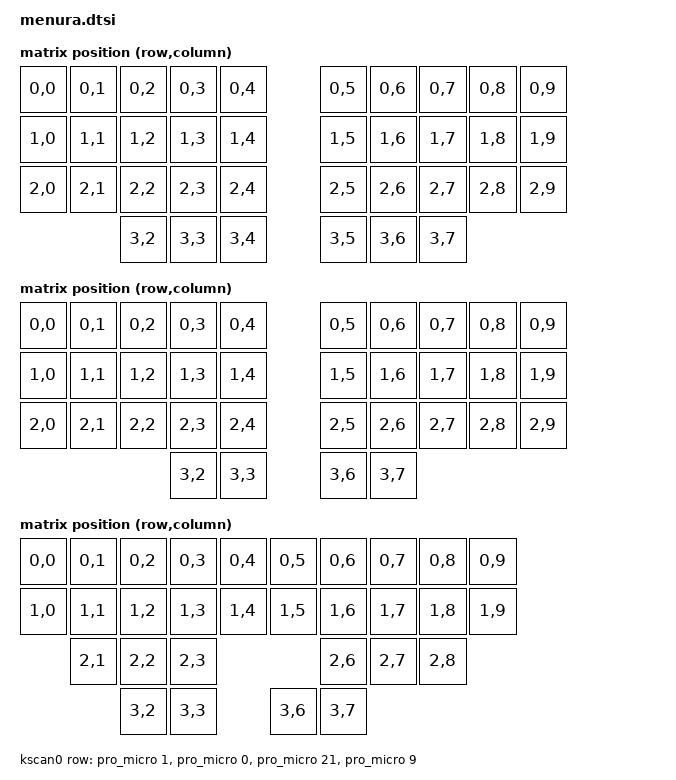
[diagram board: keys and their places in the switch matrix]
#include <dt-bindings/zmk/matrix_transform.h>

/ {
    kscan0: kscan0 {
        compatible = "zmk,kscan-gpio-matrix";
        diode-direction = "col2row";
        wakeup-source;

        row-gpios
            = <&pro_micro 1 (GPIO_ACTIVE_HIGH | GPIO_PULL_DOWN)>
            , <&pro_micro 0 (GPIO_ACTIVE_HIGH | GPIO_PULL_DOWN)>
            , <&pro_micro 21 (GPIO_ACTIVE_HIGH | GPIO_PULL_DOWN)>
            , <&pro_micro 9 (GPIO_ACTIVE_HIGH | GPIO_PULL_DOWN)>
            ;
    };

    transform_3x5_3: keymap_transform0 {
        compatible = "zmk,matrix-transform";
        columns = <10>;
        rows = <4>;
        map = <
RC(0,0) RC(0,1) RC(0,2) RC(0,3) RC(0,4)  RC(0,5) RC(0,6) RC(0,7) RC(0,8) RC(0,9)
RC(1,0) RC(1,1) RC(1,2) RC(1,3) RC(1,4)  RC(1,5) RC(1,6) RC(1,7) RC(1,8) RC(1,9)
RC(2,0) RC(2,1) RC(2,2) RC(2,3) RC(2,4)  RC(2,5) RC(2,6) RC(2,7) RC(2,8) RC(2,9)
                RC(3,2) RC(3,3) RC(3,4)  RC(3,5) RC(3,6) RC(3,7)
        >;
    };

    transform_3x5_2: keymap_transform1 {
        compatible = "zmk,matrix-transform";
        columns = <10>;
        rows = <4>;
        map = <
RC(0,0) RC(0,1) RC(0,2) RC(0,3) RC(0,4)  RC(0,5) RC(0,6) RC(0,7) RC(0,8) RC(0,9)
RC(1,0) RC(1,1) RC(1,2) RC(1,3) RC(1,4)  RC(1,5) RC(1,6) RC(1,7) RC(1,8) RC(1,9)
RC(2,0) RC(2,1) RC(2,2) RC(2,3) RC(2,4)  RC(2,5) RC(2,6) RC(2,7) RC(2,8) RC(2,9)
                    RC(3,2) RC(3,3)          RC(3,6) RC(3,7)
        >;
    };

    transform_23332_2: keymap_transform2 {
        compatible = "zmk,matrix-transform";
        columns = <10>;
        rows = <4>;
        map = <
RC(0,0) RC(0,1) RC(0,2) RC(0,3) RC(0,4)  RC(0,5) RC(0,6) RC(0,7) RC(0,8) RC(0,9)
RC(1,0) RC(1,1) RC(1,2) RC(1,3) RC(1,4)  RC(1,5) RC(1,6) RC(1,7) RC(1,8) RC(1,9)
        RC(2,1) RC(2,2) RC(2,3)                  RC(2,6) RC(2,7) RC(2,8)
                    RC(3,2) RC(3,3)          RC(3,6) RC(3,7)
        >;
    };

    transform_23333_2: keymap_transform3 {
        compatible = "zmk,matrix-transform";
        columns = <10>;
        rows = <4>;
        map = <
RC(0,0) RC(0,1) RC(0,2) RC(0,3) RC(0,4)  RC(0,5) RC(0,6) RC(0,7) RC(0,8) RC(0,9)
RC(1,0) RC(1,1) RC(1,2) RC(1,3) RC(1,4)  RC(1,5) RC(1,6) RC(1,7) RC(1,8) RC(1,9)
        RC(2,1) RC(2,2) RC(2,3) RC(2,4)  RC(2,5) RC(2,6) RC(2,7) RC(2,8)
                    RC(3,2) RC(3,3)          RC(3,6) RC(3,7)
        >;
    };

    transform_33332_2: keymap_transform4 {
        compatible = "zmk,matrix-transform";
        columns = <10>;
        rows = <4>;
        map = <
RC(0,0) RC(0,1) RC(0,2) RC(0,3) RC(0,4)  RC(0,5) RC(0,6) RC(0,7) RC(0,8) RC(0,9)
RC(1,0) RC(1,1) RC(1,2) RC(1,3) RC(1,4)  RC(1,5) RC(1,6) RC(1,7) RC(1,8) RC(1,9)
RC(2,0) RC(2,1) RC(2,2) RC(2,3)                  RC(2,6) RC(2,7) RC(2,8) RC(2,9)
                    RC(3,2) RC(3,3)          RC(3,6) RC(3,7)
        >;
    };

    transform_23332_3: keymap_transform5 {
        compatible = "zmk,matrix-transform";
        columns = <10>;
        rows = <4>;
        map = <
RC(0,0) RC(0,1) RC(0,2) RC(0,3) RC(0,4)  RC(0,5) RC(0,6) RC(0,7) RC(0,8) RC(0,9)
RC(1,0) RC(1,1) RC(1,2) RC(1,3) RC(1,4)  RC(1,5) RC(1,6) RC(1,7) RC(1,8) RC(1,9)
        RC(2,1) RC(2,2) RC(2,3)                  RC(2,6) RC(2,7) RC(2,8)
                RC(3,2) RC(3,3) RC(3,4)  RC(3,5) RC(3,6) RC(3,7)
        >;
    };

    transform_23333_3: keymap_transform6 {
        compatible = "zmk,matrix-transform";
        columns = <10>;
        rows = <4>;
        map = <
RC(0,0) RC(0,1) RC(0,2) RC(0,3) RC(0,4)  RC(0,5) RC(0,6) RC(0,7) RC(0,8) RC(0,9)
RC(1,0) RC(1,1) RC(1,2) RC(1,3) RC(1,4)  RC(1,5) RC(1,6) RC(1,7) RC(1,8) RC(1,9)
        RC(2,1) RC(2,2) RC(2,3) RC(2,4)  RC(2,5) RC(2,6) RC(2,7) RC(2,8)
                RC(3,2) RC(3,3) RC(3,4)  RC(3,5) RC(3,6) RC(3,7)
        >;
    };

    transform_33332_3: keymap_transform7 {
        compatible = "zmk,matrix-transform";
        columns = <10>;
        rows = <4>;
        map = <
RC(0,0) RC(0,1) RC(0,2) RC(0,3) RC(0,4)  RC(0,5) RC(0,6) RC(0,7) RC(0,8) RC(0,9)
RC(1,0) RC(1,1) RC(1,2) RC(1,3) RC(1,4)  RC(1,5) RC(1,6) RC(1,7) RC(1,8) RC(1,9)
RC(2,0) RC(2,1) RC(2,2) RC(2,3)                  RC(2,6) RC(2,7) RC(2,8) RC(2,9)
                RC(3,2) RC(3,3) RC(3,4)  RC(3,5) RC(3,6) RC(3,7)
        >;
    };

    default_layout: default_layout {
        compatible = "zmk,physical-layout";
        display-name = "Default Layout";
        transform = <&transform_3x5_3>;
        kscan = <&kscan0>;
    };

    chosen {
        zmk,physical-layout = &default_layout;
        zmk,kscan = &kscan0;
    };
};
